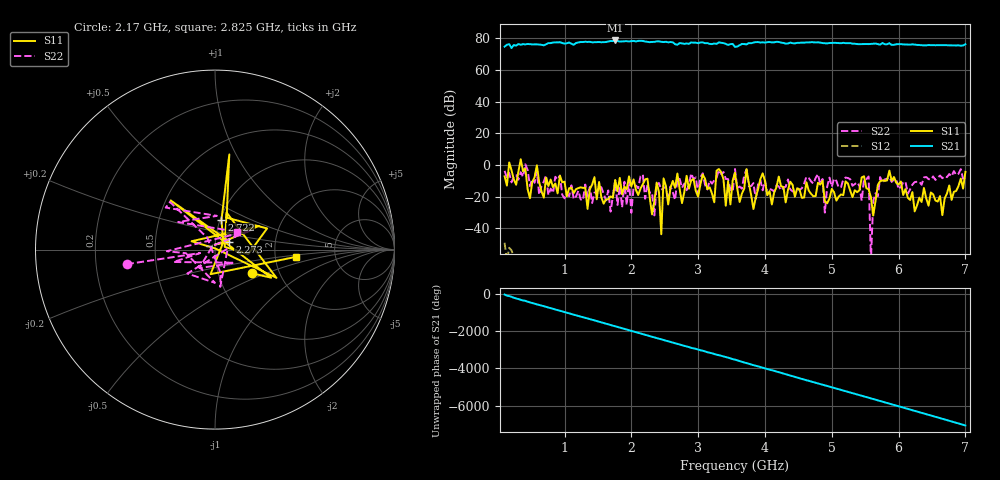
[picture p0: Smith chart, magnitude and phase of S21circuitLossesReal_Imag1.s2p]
#  HZ  S  RI  R  50.00
! Rohde & Schwarz ZVA24 4Ports - Version 3.12 - 1145.1110k26 SN: 100162
! Date: 2018-06-05 23:17:32
! Measurements: S11 S21 S12 S22
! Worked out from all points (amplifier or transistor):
!   201 points, 100 MHz to 7 GHz, reference 50 ohm
!   highest |S21| = 78.7 dB at 1.756 GHz (marker M1)
!   |S21| within 3 dB of that: 690.7 MHz to 3.53 GHz (2.839 GHz wide, 135 % of centre) (the widest 1 of 8)
!   unconditionally stable (mu >= 1): 474.3 MHz to 484.7 MHz; 1.024 GHz to 1.042 GHz; 1.671 GHz to 1.724 GHz (the widest 3 of 20)
!   at 1.238 GHz: K = 1.11, MSG = 75.7 dB, |S12| = -73.7 dB
!   at 3.55 GHz: K = 1.62, MSG = 70.8 dB, |S12| = -67.0 dB
!   at 7 GHz: K = 2.32, MSG = 69.7 dB, |S12| = -63.1 dB
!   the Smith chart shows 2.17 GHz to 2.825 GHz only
!   S11 on the Smith chart (normalised r, x): 2.17 GHz: 1.46, -0.41; 2.273 GHz: 1.17, +0.11; 2.722 GHz: 1.02, +0.35; 2.825 GHz: 2.63, -0.27
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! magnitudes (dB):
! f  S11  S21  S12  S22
! 100 MHz  -7.2  74.8  -49.2  -3.7
! 479.5 MHz  -21.0  76.3  -80.3  -13.4
! 583 MHz  -0.2  76.2  -58.2  -3.9
! 1.273 GHz  -14.5  77.7  -69.5  -22.4
! 1.756 GHz  -9.5  78.7  -68.6  -9.7
! 1.998 GHz  -13.6  78.2  -78.8  -30.3
! 2.17 GHz  -12.2  78.3  -64.4  -6.0
! 2.273 GHz  -20.7  77.6  -77.8  -17.6
! 2.412 GHz  -17.2  78.1  -75.6  -11.4
! 2.446 GHz  -43.8  77.8  -88.1  -15.7
! 2.481 GHz  -8.5  77.7  -69.5  -14.7
! 2.722 GHz  -15.4  77.0  -74.0  -8.9
! 2.825 GHz  -6.9  76.8  -70.1  -16.0
! 3.412 GHz  -25.7  76.5  -73.2  -8.9
! 3.55 GHz  -5.0  74.6  -67.0  -2.6
! 4.723 GHz  -19.8  77.5  -76.9  -11.9
! 5.551 GHz  -15.4  76.4  -70.9  -7.3
! 5.585 GHz  -20.4  76.5  -73.2  -60.2
! 5.62 GHz  -32.0  76.6  -79.6  -22.7
! 5.862 GHz  -3.6  77.0  -63.2  -7.6
! 6.655 GHz  -31.7  75.7  -61.7  -8.4
! 7 GHz  -4.4  76.2  -63.1  -6.3
